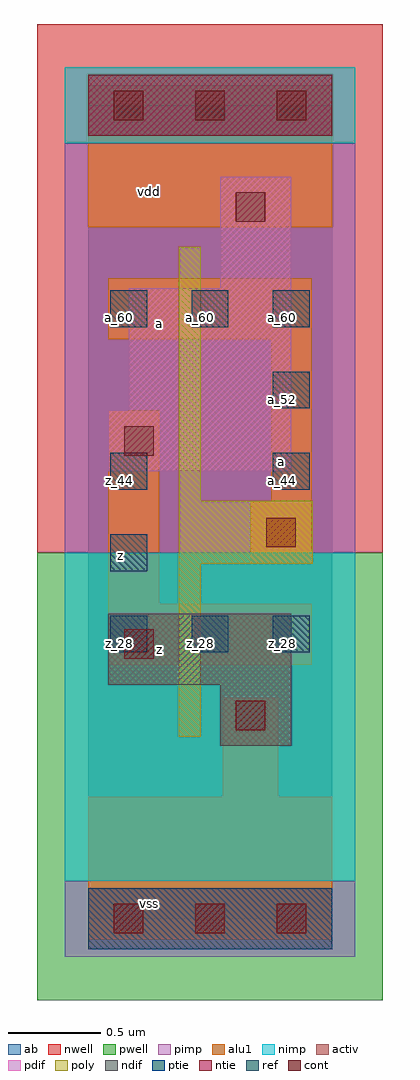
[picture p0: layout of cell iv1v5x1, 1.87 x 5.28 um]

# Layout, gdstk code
import gdstk
lib = gdstk.Library(unit=1e-6, precision=2.5e-09)
def R(c, l, rs):  # rectangles x0, y0, x1, y1
    for r in rs: c.add(gdstk.rectangle(r[:2], r[2:], *l))
def A(c, l, x, y, w, h, nx, ny, dx, dy):  # array of equal rectangles
    R(c, l, [(x+i*dx, y+j*dy, x+i*dx+w, y+j*dy+h) for i in range(nx) for j in range(ny)])
ndif = (3, 0)
pdif = (4, 0)
ntie = (5, 0)
ptie = (6, 0)
ref = (24, 0)
cont = (25, 0)
pwell = (41, 0)
nwell = (42, 0)
activ = (43, 0)
pimp = (44, 0)
nimp = (45, 0)
poly = (46, 0)
alu1 = (49, 0)
ab = (63, 0)

iv1v5x1 = lib.new_cell('iv1v5x1')
R(iv1v5x1, ndif, [(0.715,0.935,1.1,1.265), (0.11,1.265,1.1,1.65)])
R(iv1v5x1, pdif, [(0.11,2.42,1.1,2.75), (0.22,2.75,1.1,3.41), (0.715,3.41,1.1,4.015)])
R(iv1v5x1, ntie, [(0,4.235,1.32,4.565)])
R(iv1v5x1, ptie, [(0,-0.165,1.32,0.165)])
A(iv1v5x1, ref, 0.12, 1.44, 0.2, 0.2, 3, 2, 0.44, 1.76)
R(iv1v5x1, ref, [(0.12,1.88,0.32,2.08), (0.12,2.32,0.32,2.52), (1,2.32,1.2,2.52), (1,2.76,1.2,2.96)])
A(iv1v5x1, cont, 0.14, -0.08, 0.16, 0.16, 3, 2, 0.44, 4.4)
R(iv1v5x1, cont, [(0.8,1.02,0.96,1.18), (0.195,1.405,0.355,1.565), (0.965,2.01,1.125,2.17), (0.195,2.505,0.355,2.665), (0.8,3.77,0.96,3.93)])
R(iv1v5x1, pwell, [(-0.275,-0.44,1.595,1.98)])
R(iv1v5x1, nwell, [(-0.275,1.98,1.595,4.84)])
R(iv1v5x1, activ, [(0,-0.165,1.32,0.165), (0.715,0.935,1.1,1.265), (0.11,1.265,1.1,1.65), (0.11,2.42,1.1,2.75), (0.22,2.75,1.1,3.41), (0.715,3.41,1.1,4.015), (0,4.235,1.32,4.565)])
R(iv1v5x1, pimp, [(-0.125,-0.205,1.445,0.205), (-0.125,1.98,1.445,4.195)])
R(iv1v5x1, nimp, [(-0.125,0.205,1.445,1.98), (-0.125,4.195,1.445,4.605)])
R(iv1v5x1, poly, [(0.49,0.985,0.61,1.92), (0.49,1.92,1.215,2.26), (0.49,2.26,0.61,3.635)])
R(iv1v5x1, alu1, [(0,-0.11,1.32,0.66), (0.73,0.66,1.03,1.195), (0.11,1.375,1.21,1.705), (0.11,1.705,0.385,2.75), (0.88,1.925,1.21,2.255), (0.99,2.255,1.21,3.135), (0.11,3.135,1.21,3.465), (0,3.74,1.32,4.51)])
R(iv1v5x1, ab, [(0,0,1.32,4.4)])
iv1v5x1.add(gdstk.Label('vss', (0.33,0.0825), layer=49, texttype=0))
iv1v5x1.add(gdstk.Label('z', (0.385,1.4575), layer=49, texttype=0))
iv1v5x1.add(gdstk.Label('a', (1.045,2.475), layer=49, texttype=0))
iv1v5x1.add(gdstk.Label('z', (0.1775,1.965), layer=49, texttype=0))
iv1v5x1.add(gdstk.Label('a', (0.385,3.2175), layer=49, texttype=0))
iv1v5x1.add(gdstk.Label('vdd', (0.33,3.9325), layer=49, texttype=0))
iv1v5x1.add(gdstk.Label('z_28', (0.61,1.49), layer=24, texttype=0))
iv1v5x1.add(gdstk.Label('a_60', (0.61,3.25), layer=24, texttype=0))
iv1v5x1.add(gdstk.Label('z_28', (1.05,1.49), layer=24, texttype=0))
iv1v5x1.add(gdstk.Label('a_44', (1.05,2.37), layer=24, texttype=0))
iv1v5x1.add(gdstk.Label('a_52', (1.05,2.81), layer=24, texttype=0))
iv1v5x1.add(gdstk.Label('a_60', (1.05,3.25), layer=24, texttype=0))
iv1v5x1.add(gdstk.Label('z_28', (0.17,1.49), layer=24, texttype=0))
iv1v5x1.add(gdstk.Label('z_36', (0.17,1.93), layer=24, texttype=0))
iv1v5x1.add(gdstk.Label('z_44', (0.17,2.37), layer=24, texttype=0))
iv1v5x1.add(gdstk.Label('a_60', (0.17,3.25), layer=24, texttype=0))

lib.write_gds('iv1v5x1.gds')
